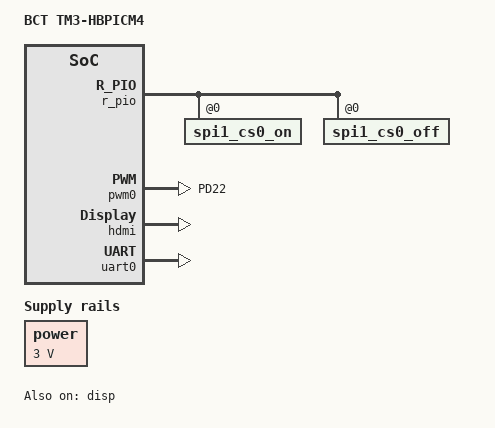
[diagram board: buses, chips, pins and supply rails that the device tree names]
/*
 * Allwinner Technology CO., Ltd. sun50iw6p1 soc board.
 *
 * soc board support.
 */

#include <dt-bindings/input/input.h>

#include "tm3.dtsi"

/ {
	model = "BCT TM3-HBPICM4";

	hbxregulators {
		compatible = "simple-bus";

		power{
			compatible = "regulator-fixed";
			regulator-name = "power";
			regulator-min-microvolt = <3000000>;
			regulator-max-microvolt = <3000000>;
			regulator-always-on;
		};		
	};	
};

&pio
{
	pinctrl-0 = <&pinctrl_hog_hostboard>;

	uart1_pins_a: uart1@0 {
		allwinner,pins = "PG6", "PG7";
		allwinner,pname = "uart1_tx", "uart1_rx";
		allwinner,function = "uart1";
		allwinner,muxsel = <2>;
		allwinner,drive = <1>;
		allwinner,pull = <1>;
	};

	uart1_pins_b: uart1@1 {
		allwinner,pins = "PG6", "PG7";
		allwinner,function = "io_disabled";
		allwinner,muxsel = <7>;
		allwinner,drive = <1>;
		allwinner,pull = <0>;
	};

	lcd0_pins_0: lcd0@0{
		allwinner,pins = "PD0", "PD1", "PD2", "PD3", "PD4", "PD5", "PD6", "PD7", "PD8", "PD9", "PD10", "PD11", "PD12", "PD13", "PD14", "PD15", "PD16", "PD17", "PD18", "PD19";
		allwinner,function = "lcd0";
		allwinner,pname = "lcdd0", "lcdd1", "lcdd2", "lcdd3", "lcdd4", "lcdd5", "lcdd6", "lcdd7", "lcdd8", "lcdd9", "lcdd10", "lcdd11", "lcdd12", "lcdd13", "lcdd14", "lcdd15", "lcdd16", "lcdd17", "lcdd18", "lcdd19";
		allwinner,muxsel = <0x2>;
		allwinner,pull = <0x0>;
		allwinner,drive = <0x03>;
		allwinner,data = <0xffffffff>;
	};

	lcd0_pins_1: lcd0@1{
		allwinner,pins = "PD0", "PD1", "PD2", "PD3", "PD4", "PD5", "PD6", "PD7", "PD8", "PD9", "PD10", "PD11", "PD12", "PD13", "PD14", "PD15", "PD16", "PD17", "PD18", "PD19";
		allwinner,function = "lcd0";
		allwinner,pname = "lcdd0", "lcdd1", "lcdd2", "lcdd3", "lcdd4", "lcdd5", "lcdd6", "lcdd7", "lcdd8", "lcdd9", "lcdd10", "lcdd11", "lcdd12", "lcdd13", "lcdd14", "lcdd15", "lcdd16", "lcdd17", "lcdd18", "lcdd19";
		allwinner,muxsel = <0x7>;
		allwinner,pull = <0x0>;
		allwinner,drive = <0xffffffff>;
		allwinner,data = <0xffffffff>;
	};

	pwm0_pins_0: pwm0@0 {
		allwinner,pins = "PD22";
		allwinner,function = "pwm0";
		allwinner,pname = "pwm_positive";
		allwinner,muxsel = <0x2>;
		allwinner,pull = <0x0>;
		allwinner,drive = <0xffffffff>;
		allwinner,data = <0xffffffff>;
	};

	pwm0_pins_1: pwm0@1 {
		allwinner,pins = "PD22";
		allwinner,function = "pwm0";
		allwinner,pname = "pwm_positive";
		allwinner,muxsel = <0x7>;
		allwinner,pull = <0x0>;
		allwinner,drive = <0xffffffff>;
		allwinner,data = <0xffffffff>;
	};

	spi1_pins_a: spi1@0 {
		allwinner,pins = "PH4", "PH5", "PH6";
		allwinner,pname = "spi1_sclk", "spi1_mosi",
					"spi1_miso";
		allwinner,function = "spi1";
		allwinner,muxsel = <2>;
		allwinner,drive = <1>;
		allwinner,pull = <0>;
	};
	spi1_pins_c: spi1@2 {
		allwinner,pins = "PH4", "PH5", "PH6";
		allwinner,function = "io_disabled";
		allwinner,muxsel = <7>;
		allwinner,drive = <1>;
		allwinner,pull = <0>;
	};

	/* SP1-CS1 */
	spi1_cs1_on: spi1_cs1_on@0
	{
		allwinner,pins = "PG8" ;
		allwinner,function = "gpio_in";
		allwinner,muxsel = <0>;
		allwinner,drive = <1>;
		allwinner,pull = <1>;
	};
	spi1_cs1_off: spi1_cs1_off@0
	{
		allwinner,pins = "PG8" ;
		allwinner,function = "io_disabled";
		allwinner,muxsel = <7>;
		allwinner,drive = <1>;
		allwinner,pull = <0>;
	};
};

&r_pio{
	pinctrl-0 = <&rpio_pinctrl_hog_hostboard>;

	/* SP1-CS0 */
	spi1_cs0_on: spi1_cs0_on@0
	{
		allwinner,pins = "PL7" ;
		allwinner,function = "gpio_in";
		allwinner,muxsel = <0>;
		allwinner,drive = <1>;
		allwinner,pull = <1>;
	};
	spi1_cs0_off: spi1_cs0_off@0
	{
		allwinner,pins = "PL7" ;
		allwinner,function = "io_disabled";
		allwinner,muxsel = <7>;
		allwinner,drive = <1>;
		allwinner,pull = <0>;
	};

};

&pwm0
{
	device_type = "pwm0";
	pwm_used = <0x1>;
	pinctrl-0 = <&pwm0_pins_0>;
	pinctrl-1 = <&pwm0_pins_1>;
};

/*
&boot_disp{
	compatible = "allwinner,boot_disp";
	device_type = "boot_disp";
	auto_hpd = <0x1>;
	output_disp = <0x0>;
	output_type = <0x3>;
	output_mode = <0xb>;
	output_format = <0x1>;
	output_bits = <0x0>;
	output_eotf = <0x4>;
	output_cs = <0x104>;
	hdmi_channel = <0x0>;
	hdmi_mode = <0x4>;
};
*/

&disp{
	compatible = "allwinner,sunxi-disp";
	reg =	<0x0 0x01000000 0x0 0x01400000>,/*de*/
			<0x0 0x06510000 0x0 0x100>,/*tcon-top*/
			<0x0 0x06511000 0x0 0x800>,/*tcon0*/
			<0x0 0x06515000 0x0 0x800>;/*tcon1*/
	interrupts = <GIC_SPI 65 0x0104>, <GIC_SPI 66 0x0104>;
	clocks = <&clk_de>, <&clk_display_top>,  <&clk_tcon_lcd>, <&clk_tcon_tv>;
	boot_disp = <0x0>;
	boot_disp1 = <0x0>;
	boot_disp2 = <0x0>;
	fb_base = <0x0>;
	iommus = <&mmu_aw 0 0>;
	status = "okay";
	device_type = "disp";
	disp_init_enable = <0x1>;
	disp_mode = <0>;
	screen0_output_type = <0x3>;
	screen0_output_mode = <0xa>;
	screen0_output_format = <0xa>;
	screen0_output_bits = <0x0>;
	screen0_output_eotf = <0x4>;
	screen0_output_cs = <0x101>;
	screen0_output_dvi_hdmi = <0x2>;
	screen0_output_range = <0x2>;
	screen0_output_scan = <0x0>;
	screen0_output_aspect_ratio = <10>;
	screen1_output_type = <0x0>;
	screen1_output_mode = <0x2>;
	screen1_output_format = <0x1>;
	screen1_output_bits = <0x0>;
	screen1_output_eotf = <0x4>;
	screen1_output_cs = <0x104>;
	screen1_output_dvi_hdmi = <0x2>;
	screen1_output_range = <0x2>;
	screen1_output_scan = <0x0>;
	screen1_output_aspect_ratio = <0x8>;
	dev0_output_type = <0x1>;
	dev0_output_mode = <0xa>;
	dev0_screen_id = <0x0>;
	dev0_do_hpd = <0x0>;
	dev1_output_type = <0x0>;
	dev1_output_mode = <0xb>;
	dev1_screen_id = <0x1>;
	dev1_do_hpd = <0x1>;
	dev2_output_type = <0x0>;
	def_output_dev = <0x0>;
	hdmi_mode_check = <0x1>;
	fb0_format = <0x0>;
	fb0_width = <0>;
	fb0_height = <0>;
	fb1_format = <0x0>;
	fb1_width = <0x0>;
	fb1_height = <0x0>;
	disp_para_zone = <0x1>;
};


&hdmi{
	device_type = "hdmi";
	status = "okay";
	hdmi_hdcp_enable = <0x0>;
	hdmi_hdcp22_enable = <0x0>;
	hdmi_cts_compatibility = <0x0>;
	hdmi_cec_support = <0x1>;
	hdmi_cec_super_standby = <0x1>;
	hdmi_skip_bootedid = <0x1>;
	pinctrl-0 = <&hdmi_ddc_pin_a>;
	ddc_en_io_ctrl = <0x0>;
};

&spi1{
	#address-cells = <1>;
	#size-cells = <0>;
	compatible = "allwinner,sun50i-spi";
	device_type = "spi1";
	reg = <0x0 0x05011000 0x0 0x1000>;
	interrupts = <GIC_SPI 11 IRQ_TYPE_LEVEL_HIGH>;
	clocks = <&clk_pll_periph0>, <&clk_spi1>;
	clock-frequency = <100000000>;
	pinctrl-names = "default", "sleep";
	pinctrl-0 = <&spi1_pins_a>, <&spi1_cs0_on>, <&spi1_cs1_on> ;
	pinctrl-1 = <&spi1_pins_c>, <&spi1_cs0_off>, <&spi1_cs1_off>;
	spi1_cs_number = <1>;
	spi1_cs_bitmap = <1>;
	chipselect-gpios = <&r_pio PL 7 0 0 0 0xffffffff>, <&pio PG 8 0 0 0 0xffffffff>;
	usegpiocs = <2>;
	status = "disabled";
};

&uart0 {
	pinctrl-names = "default", "sleep";
	pinctrl-0 = <&uart0_pins_a>;
	pinctrl-1 = <&uart0_pins_b>;
	uart0_port = <0>;
	uart0_type = <2>;
	status = "okay";
};


&pinctrl_hog_hostboard{
	allwinner,pins = "PH7";
	allwinner,function = "irq";
	allwinner,muxsel = <0x6>;
	allwinner,pull = <0xffffffff>;
	allwinner,drive =<0xffffffff>;
	allwinner,data = <0xffffffff>;
};


&rpio_pinctrl_hog_hostboard{
	allwinner,pins = "PM0";
	allwinner,function = "gpio";
	allwinner,muxsel = <0>;
	allwinner,drive = <0>;
	allwinner,pull = <1>;
};

// No sdcard present
&sdc0 {
	status = "disabled";
};

// Device type USB port
&usbc0{
	usb_port_type = <0>;
};

// daudio2 clashes with 50w-gpio
&daudio2 {
	status = "disabled";
};
&ahub_daudio2 {
	status = "disabled";
};

// Risc coprocessor peripherals clash with 50w-gpio
&s_jtag0 {
	status = "disabled";
};
&s_cir0 {
	status = "disabled";	
};

&s_uart0 {
	status = "disabled";	
};

&rtc {
	status = "disabled";	
};

